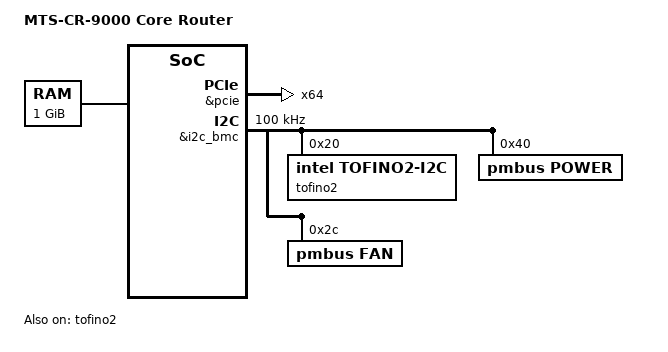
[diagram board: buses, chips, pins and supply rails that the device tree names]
/*
 * Device Tree for MTS-CR-9000 Core Router
 * AMD EPYC 7003 + Intel Tofino 2
 */

/dts-v1/;
/include/ "amd/epyc-rome.dtsi"
/include/ "intel/tofino2.dtsi"

/ {
    model = "MTS-CR-9000 Core Router";
    compatible = "mts,cr9000", "amd,rome";

    chosen {
        bootargs = "console=ttyS0,115200n8 root=/dev/nvme0n1p2 rw";
        stdout-path = "serial:0";
    };

    memory {
        reg = <0x00000000 0x00000000 0x00000000 0x40000000>; /* 1GB base */
    };

    /* PCIe for Tofino 2 */
    &pcie {
        status = "okay";
        num-lanes = <64>;
        max-speed = <4>; /* PCIe Gen4 */
    };

    /* Tofino 2 ASIC */
    tofino2: tofino@0 {
        compatible = "intel,tofino2";
        reg = <0x00000000 0x00000000 0x00001000>;
        interrupts = <0 42 4>;
        num-pipelines = <4>;
        max-ports = <128>;
        max-tables = <4096>;
        max-entries = <1048576>;
        status = "okay";
    };

    /* NVMe storage */
    &nvme {
        status = "okay";
        num-controllers = <4>;
    };

    /* BMC */
    &bmc {
        status = "okay";
        i2c-bus = <&i2c_bmc>;
    };

    /* I2C for management */
    &i2c_bmc {
        status = "okay";
        clock-frequency = <100000>;

        tofino2@20 {
            compatible = "intel,tofino2-i2c";
            reg = <0x20>;
        };

        power@40 {
            compatible = "pmbus,power";
            reg = <0x40>;
        };

        fan@2c {
            compatible = "pmbus,fan";
            reg = <0x2c>;
        };
    };

    /* Clocks */
    &clocks {
        status = "okay";
        reference-clock = <100000000>;
    };
};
